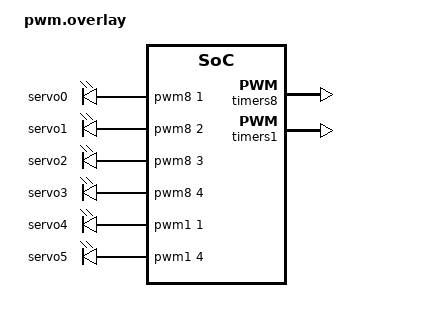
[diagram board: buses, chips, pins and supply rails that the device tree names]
/ {
	/* Struttura pwm-leds come progetto jonny5 funzionante */
	pwm_servos: pwm-servos {
		compatible = "pwm-leds";
		status = "okay";

		/* TIM8 @ 50 Hz → 20 ms = 20000000 ns (coerente con servo_get_period_hz TIM8) */
		servo0: servo0 {
			pwms = <&pwm8 1 20000000 PWM_POLARITY_NORMAL>; /* BASE = PC6 TIM8_CH1 */
		};

		servo1: servo1 {
			pwms = <&pwm8 2 20000000 PWM_POLARITY_NORMAL>; /* SPALLA = PC7 TIM8_CH2 */
		};

		servo2: servo2 {
			pwms = <&pwm8 3 20000000 PWM_POLARITY_NORMAL>; /* GOMITO = PC8 TIM8_CH3 */
		};

		servo3: servo3 {
			pwms = <&pwm8 4 20000000 PWM_POLARITY_NORMAL>; /* YAW = PC9 TIM8_CH4 */
		};

		/* TIM1 @ 50 Hz → 20 ms = 20000000 ns (HPS-0127 PITCH/ROLL; coerente con SERVO_PWM_HZ_TIM1) */
		servo4: servo4 {
			pwms = <&pwm1 1 20000000 PWM_POLARITY_NORMAL>; /* PITCH = PA8 TIM1_CH1 */
		};

		servo5: servo5 {
			pwms = <&pwm1 4 20000000 PWM_POLARITY_NORMAL>; /* ROLL = PA11 TIM1_CH4 */
		};
	};

	aliases {
		pwm-servo0 = &servo0;
		pwm-servo1 = &servo1;
		pwm-servo2 = &servo2;
		pwm-servo3 = &servo3;
		pwm-servo4 = &servo4;
		pwm-servo5 = &servo5;
	};
};

/* Definizione manuale pinctrl per TIM8 e TIM1 (come progetto jonny5) */
&pinctrl {
	tim8_ch1_pc6: tim8_ch1_pc6 { pinmux = <STM32_PINMUX('C', 6, AF3)>; };
	tim8_ch2_pc7: tim8_ch2_pc7 { pinmux = <STM32_PINMUX('C', 7, AF3)>; };
	tim8_ch3_pc8: tim8_ch3_pc8 { pinmux = <STM32_PINMUX('C', 8, AF3)>; };
	tim8_ch4_pc9: tim8_ch4_pc9 { pinmux = <STM32_PINMUX('C', 9, AF3)>; };

	/* PITCH su PA8 (TIM1_CH1, AF1) — advanced-control timer, boot predicibile.
	 * ROLL su PA11 (TIM1_CH4, AF1). */
	tim1_ch1_pa8: tim1_ch1_pa8 { pinmux = <STM32_PINMUX('A', 8, AF1)>; };
	tim1_ch4_pa11: tim1_ch4_pa11 { pinmux = <STM32_PINMUX('A', 11, AF1)>; };
};

/* TIM8: BASE, SPALLA, GOMITO, YAW — PC6..PC9 (CH1..CH4). ROLL è su TIM1 (PA11). */
/* TIM8 non è nel DTS base STM32F4 per tutte le varianti: nodo sotto /soc/ */
&{/soc} {
	timers8: timers@40010400 {
		compatible = "st,stm32-timers";
		reg = <0x40010400 0x400>;
		clocks = <&rcc STM32_CLOCK(APB2, 1U)>;
		resets = <&rctl STM32_RESET(APB2, 1U)>;
		interrupts = <43 0>, <44 0>, <45 0>, <46 0>;
		interrupt-names = "brk", "up", "trgcom", "cc";
		st,prescaler = <83>;
		status = "okay";

		pwm8: pwm {
			compatible = "st,stm32-pwm";
			status = "okay";
			pinctrl-0 = <&tim8_ch1_pc6 &tim8_ch2_pc7 &tim8_ch3_pc8 &tim8_ch4_pc9>;
			pinctrl-names = "default";
			#pwm-cells = <3>;
		};
	};
};

/* TIM1: PITCH (PA8, TIM1_CH1) e ROLL (PA11, TIM1_CH4) — advanced-control timer */
&timers1 {
	status = "okay";
	st,prescaler = <83>;
	pwm1: pwm {
		status = "okay";
		pinctrl-0 = <&tim1_ch1_pa8 &tim1_ch4_pa11>;
		pinctrl-names = "default";
		#pwm-cells = <3>;
	};
};
